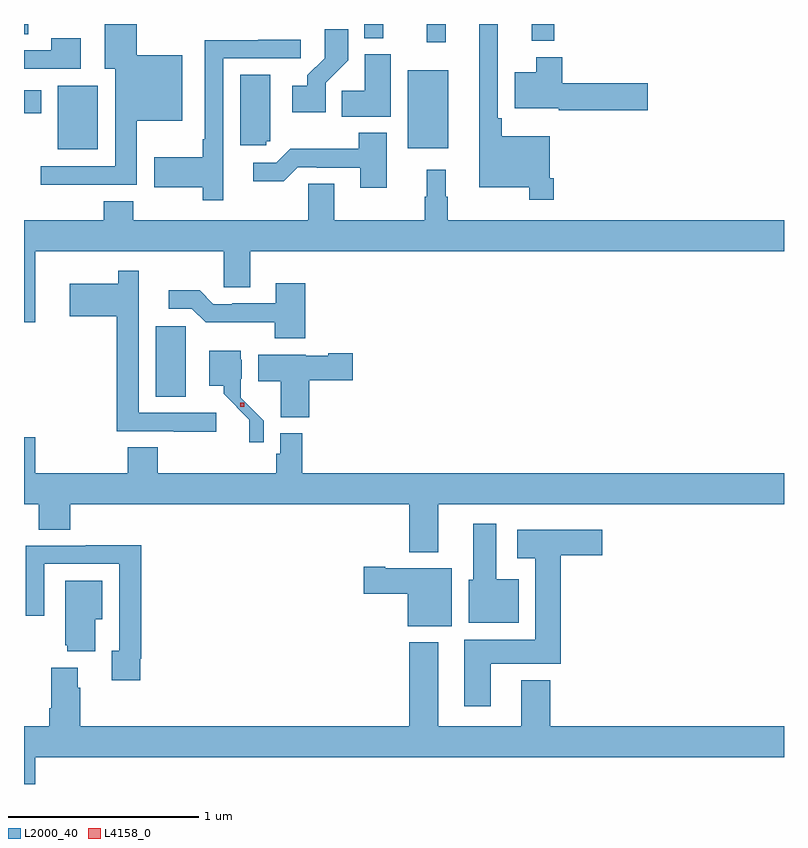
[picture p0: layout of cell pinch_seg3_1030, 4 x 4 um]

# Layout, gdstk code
import gdstk
lib = gdstk.Library(unit=1e-6, precision=1e-09)
def R(c, l, rs):  # rectangles x0, y0, x1, y1
    for r in rs: c.add(gdstk.rectangle(r[:2], r[2:], *l))
def P(c, l, *ps):  # polygons
    for p in ps: c.add(gdstk.Polygon(p, *l))
L2000_40 = (2000, 40)
L4158_0 = (4158, 0)

pinch_seg3_1030 = lib.new_cell('pinch_seg3_1030')
R(pinch_seg3_1030, L2000_40, [(513.458,676.174,513.616,676.545), (512.942,677.477,513.154,677.812), (514.784,677.483,514.999,677.893), (512.765,677.666,512.857,677.788), (514.885,678.039,514.985,678.136), (515.438,678.047,515.555,678.136), (514.557,678.062,514.656,678.136), (512.765,678.082,512.787,678.136)])
P(pinch_seg3_1030, L2000_40, [(515.552,677.323),(515.532,677.323),(515.532,677.545),(515.279,677.545),(515.279,677.641),(515.259,677.641),(515.259,678.136),(515.162,678.136),(515.162,677.276),(515.424,677.276),(515.424,677.211),(515.552,677.211)],
  [(513.358,677.627),(513.598,677.627),(513.598,677.971),(513.358,677.971),(513.358,678.136),(513.191,678.136),(513.191,677.9),(513.245,677.9),(513.245,677.388),(512.853,677.388),(512.853,677.291),(513.358,677.291)],
  [(514.353,677.827),(514.472,677.946),(514.472,678.109),(514.347,678.109),(514.347,677.957),(514.256,677.867),(514.256,677.812),(514.176,677.812),(514.176,677.672),(514.353,677.672)],
  [(513.064,678.061),(512.908,678.061),(512.908,677.997),(512.765,677.997),(512.765,677.901),(513.064,677.901)],
  [(513.814,677.43),(513.813,677.43),(513.813,677.955),(514.222,677.955),(514.222,678.054),(513.997,678.054),(513.997,678.051),(513.717,678.051),(513.717,677.53),(513.705,677.53),(513.705,677.434),(513.45,677.434),(513.45,677.276),(513.705,677.276),(513.705,677.208),(513.814,677.208)],
  [(514.696,677.977),(514.559,677.977),(514.559,677.786),(514.438,677.786),(514.438,677.648),(514.696,677.648)],
  [(516.049,677.823),(515.597,677.823),(515.597,677.962),(515.462,677.962),(515.462,677.881),(515.348,677.881),(515.348,677.693),(515.58,677.693),(515.58,677.681),(516.049,677.681)],
  [(514.041,677.52),(514.06,677.52),(514.06,677.869),(513.902,677.869),(513.902,677.499),(514.041,677.499)],
  [(514.675,677.563),(514.528,677.563),(514.528,677.479),(514.165,677.479),(514.092,677.406),(513.972,677.406),(513.972,677.309),(514.133,677.309),(514.206,677.382),(514.306,677.382),(514.306,677.379),(514.535,677.379),(514.535,677.274),(514.675,677.274)],
  [(512.824,676.94),(513.816,676.94),(513.816,676.75),(513.955,676.75),(513.955,676.94),(516.765,676.94),(516.765,677.104),(514.996,677.104),(514.996,677.228),(514.984,677.228),(514.984,677.368),(514.886,677.368),(514.886,677.228),(514.875,677.228),(514.875,677.104),(514.399,677.104),(514.399,677.294),(514.26,677.294),(514.26,677.104),(513.339,677.104),(513.339,677.203),(513.184,677.203),(513.184,677.104),(512.765,677.104),(512.765,676.566),(512.824,676.566)],
  [(513.778,676.089),(513.369,676.089),(513.369,676.614),(513.37,676.614),(513.37,676.837),(513.261,676.837),(513.261,676.768),(513.006,676.768),(513.006,676.598),(513.253,676.598),(513.253,675.993),(513.553,675.993),(513.553,675.991),(513.778,675.991)],
  [(514.244,676.771),(514.091,676.771),(514.091,676.665),(513.862,676.665),(513.862,676.662),(513.762,676.662),(513.689,676.735),(513.528,676.735),(513.528,676.638),(513.648,676.638),(513.721,676.566),(514.084,676.566),(514.084,676.481),(514.244,676.481)],
  [(514.028,676.048),(513.906,676.17),(513.906,676.268),(513.912,676.268),(513.912,676.368),(513.907,676.368),(513.907,676.417),(513.74,676.417),(513.74,676.232),(513.815,676.232),(513.815,676.19),(513.95,676.054),(513.95,675.936),(514.028,675.936)],
  [(514.265,676.261),(514.495,676.261),(514.495,676.403),(514.365,676.403),(514.365,676.39),(514.248,676.39),(514.248,676.396),(513.997,676.396),(513.997,676.256),(514.115,676.256),(514.115,676.067),(514.265,676.067)],
  [(514.945,675.608),(516.765,675.608),(516.765,675.772),(514.229,675.772),(514.229,675.982),(514.113,675.982),(514.113,675.873),(514.093,675.873),(514.093,675.772),(513.47,675.772),(513.47,675.908),(513.31,675.908),(513.31,675.772),(512.824,675.772),(512.824,675.961),(512.765,675.961),(512.765,675.608),(512.843,675.608),(512.843,675.475),(513.008,675.475),(513.008,675.608),(514.793,675.608),(514.793,675.356),(514.945,675.356)],
  [(515.368,675.214),(515.251,675.214),(515.251,675.505),(515.129,675.505),(515.129,675.21),(515.105,675.21),(515.105,674.984),(515.368,674.984)],
  [(515.221,674.768),(515.591,674.768),(515.591,675.341),(515.809,675.341),(515.809,675.475),(515.361,675.475),(515.361,675.323),(515.456,675.323),(515.456,674.896),(515.081,674.896),(515.081,674.544),(515.221,674.544)],
  [(513.376,674.794),(513.383,674.794),(513.383,675.392),(513.091,675.392),(513.091,675.39),(512.775,675.39),(512.775,675.021),(512.871,675.021),(512.871,675.294),(513.267,675.294),(513.267,674.838),(513.227,674.838),(513.227,674.682),(513.376,674.682)],
  [(515.017,675.271),(514.666,675.271),(514.666,675.279),(514.554,675.279),(514.554,675.137),(514.784,675.137),(514.784,674.966),(515.017,674.966)],
  [(513.139,675.002),(513.178,675.002),(513.178,675.205),(512.981,675.205),(512.981,674.865),(512.993,674.865),(512.993,674.834),(513.139,674.834)],
  [(512.824,674.276),(516.765,674.276),(516.765,674.44),(515.534,674.44),(515.534,674.683),(515.381,674.683),(515.381,674.44),(514.945,674.44),(514.945,674.881),(514.793,674.881),(514.793,674.44),(513.062,674.44),(513.062,674.642),(513.049,674.642),(513.049,674.749),(512.909,674.749),(512.909,674.536),(512.897,674.536),(512.897,674.44),(512.765,674.44),(512.765,674.136),(512.824,674.136)])
R(pinch_seg3_1030, L4158_0, [(513.904,676.122,513.924,676.142)])

lib.write_gds('pinch_seg3_1030.gds')
